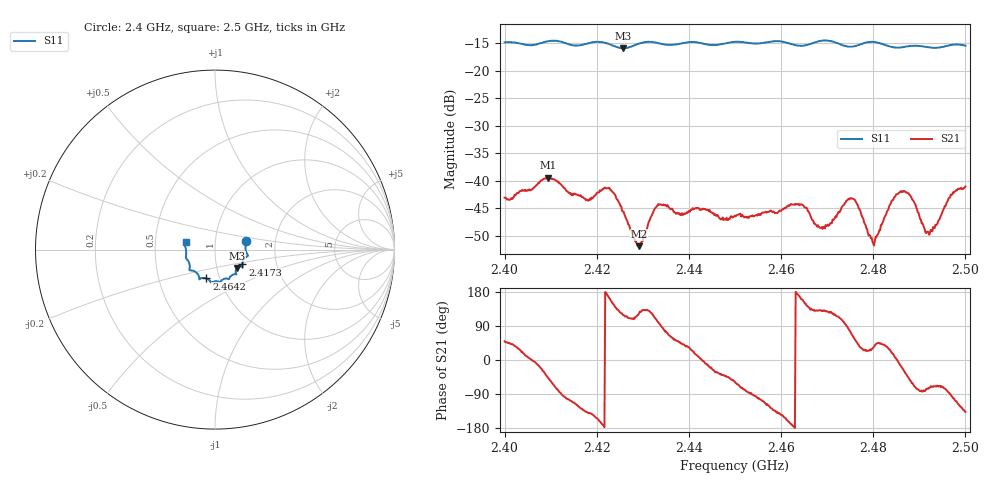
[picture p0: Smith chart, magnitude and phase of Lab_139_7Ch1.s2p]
# Hz S RI R 50
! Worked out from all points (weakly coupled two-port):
!   601 points, 2.4 GHz to 2.5 GHz, reference 50 ohm
!   highest |S21| = -39.42 dB at 2.4095 GHz (marker M1); lowest = -51.9 dB at 2.4292 GHz (marker M2)
!   lowest |S11| = -15.9 dB at 2.4257 GHz (marker M3), VSWR 1.38, Z = 62.4 - j13.1 ohm
!   |S11| at or under -10 dB: start of sweep to end of sweep
!   S12 and S22 are empty: the file has one direction only
!   S11 on the Smith chart (normalised r, x): 2.4 GHz: 1.41, +0.14; 2.4173 GHz: 1.34, -0.23; 2.4642 GHz: 0.86, -0.29; 2.5 GHz: 0.72, +0.06
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2.4e9  0.1735 0.0491  0.00458 0.00535  0 0  0 0
2.4095e9  0.1826 -0.0305  0.00714 -0.00796  0 0  0 0
2.416667e9  0.1534 -0.0751  -0.0045 -0.00559  0 0  0 0
2.417333e9  0.1525 -0.0825  -0.00483 -0.00498  0 0  0 0
2.422333e9  0.1492 -0.0944  -0.00846 0.00141  0 0  0 0
2.425667e9  0.1225 -0.1021  -0.00255 0.0046  0 0  0 0
2.429167e9  0.1161 -0.132  -0.00138 0.00215  0 0  0 0
2.433333e9  0.113 -0.137  -0.00107 0.00605  0 0  0 0
2.438167e9  0.0821 -0.1555  0.0035 0.00341  0 0  0 0
2.45e9  0.0294 -0.1803  0.00258 -0.00409  0 0  0 0
2.464167e9  -0.0481 -0.161  -0.00588 0.00161  0 0  0 0
2.466667e9  -0.0759 -0.1591  -0.00303 0.00329  0 0  0 0
2.47e9  -0.0875 -0.1656  -0.00242 0.00307  0 0  0 0
2.4755e9  -0.1108 -0.1228  0.00294 0.00622  0 0  0 0
2.48e9  -0.1428 -0.1136  0.00229 0.00145  0 0  0 0
2.483333e9  -0.1406 -0.0901  0.00484 0.00278  0 0  0 0
2.485333e9  -0.1463 -0.0689  0.0076 -0.000449  0 0  0 0
2.487167e9  -0.156 -0.0552  0.00628 -0.00479  0 0  0 0
2.491833e9  -0.1608 -0.0269  0.000907 -0.00335  0 0  0 0
2.493833e9  -0.1613 -0.00383  0.00152 -0.00374  0 0  0 0
2.496833e9  -0.1689 0.0251  -0.000117 -0.00752  0 0  0 0
2.5e9  -0.1633 0.0412  -0.00651 -0.00607  0 0  0 0
